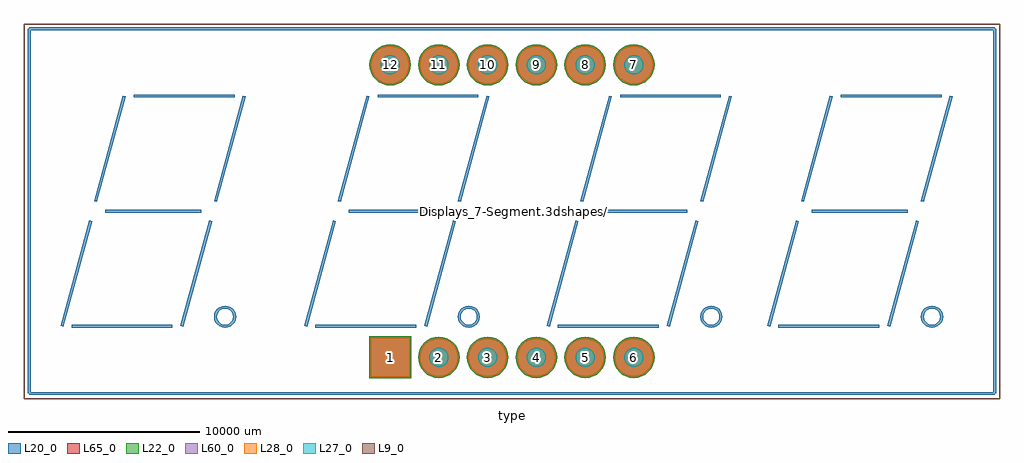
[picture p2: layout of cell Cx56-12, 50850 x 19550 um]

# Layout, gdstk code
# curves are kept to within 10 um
import gdstk
lib = gdstk.Library(unit=1e-6, precision=1e-09)
def R(c, l, rs):  # rectangles x0, y0, x1, y1
    for r in rs: c.add(gdstk.rectangle(r[:2], r[2:], *l))
def P(c, l, *ps):  # polygons
    for p in ps: c.add(gdstk.Polygon(p, *l))
L9_0 = (9, 0)
L20_0 = (20, 0)
L22_0 = (22, 0)
L27_0 = (27, 0)
L28_0 = (28, 0)
L60_0 = (60, 0)
L65_0 = (65, 0)

cx56_12 = lib.new_cell('Cx56-12')
R(cx56_12, L22_0, [(-1091,-1091,1091,1091)])
P(cx56_12, L22_0, [(6155,15240),(6134.344,15449.722),(6073.17,15651.385),(5973.83,15837.238),(5840.14,16000.14),(5677.238,16133.83),(5491.385,16233.17),(5289.722,16294.344),(5080,16315),(4870.278,16294.344),(4668.615,16233.17),(4482.762,16133.83),(4319.86,16000.14),(4186.17,15837.238),(4086.83,15651.385),(4025.656,15449.722),(4005,15240),(4025.656,15030.278),(4086.83,14828.615),(4186.17,14642.762),(4319.86,14479.86),(4482.762,14346.17),(4668.615,14246.83),(4870.278,14185.656),(5080,14165),(5289.722,14185.656),(5491.385,14246.83),(5677.238,14346.17),(5840.14,14479.86),(5973.83,14642.762),(6073.17,14828.615),(6134.344,15030.278)],
  [(13775,15240),(13754.344,15449.722),(13693.17,15651.385),(13593.83,15837.238),(13460.14,16000.14),(13297.238,16133.83),(13111.385,16233.17),(12909.722,16294.344),(12700,16315),(12490.278,16294.344),(12288.615,16233.17),(12102.762,16133.83),(11939.86,16000.14),(11806.17,15837.238),(11706.83,15651.385),(11645.656,15449.722),(11625,15240),(11645.656,15030.278),(11706.83,14828.615),(11806.17,14642.762),(11939.86,14479.86),(12102.762,14346.17),(12288.615,14246.83),(12490.278,14185.656),(12700,14165),(12909.722,14185.656),(13111.385,14246.83),(13297.238,14346.17),(13460.14,14479.86),(13593.83,14642.762),(13693.17,14828.615),(13754.344,15030.278)],
  [(3615,15240),(3594.344,15449.722),(3533.17,15651.385),(3433.83,15837.238),(3300.14,16000.14),(3137.238,16133.83),(2951.385,16233.17),(2749.722,16294.344),(2540,16315),(2330.278,16294.344),(2128.615,16233.17),(1942.762,16133.83),(1779.86,16000.14),(1646.17,15837.238),(1546.83,15651.385),(1485.656,15449.722),(1465,15240),(1485.656,15030.278),(1546.83,14828.615),(1646.17,14642.762),(1779.86,14479.86),(1942.762,14346.17),(2128.615,14246.83),(2330.278,14185.656),(2540,14165),(2749.722,14185.656),(2951.385,14246.83),(3137.238,14346.17),(3300.14,14479.86),(3433.83,14642.762),(3533.17,14828.615),(3594.344,15030.278)],
  [(1075,15240),(1054.344,15449.722),(993.17,15651.385),(893.83,15837.238),(760.14,16000.14),(597.238,16133.83),(411.385,16233.17),(209.722,16294.344),(0,16315),(-209.722,16294.344),(-411.385,16233.17),(-597.238,16133.83),(-760.14,16000.14),(-893.83,15837.238),(-993.17,15651.385),(-1054.344,15449.722),(-1075,15240),(-1054.344,15030.278),(-993.17,14828.615),(-893.83,14642.762),(-760.14,14479.86),(-597.238,14346.17),(-411.385,14246.83),(-209.722,14185.656),(0,14165),(209.722,14185.656),(411.385,14246.83),(597.238,14346.17),(760.14,14479.86),(893.83,14642.762),(993.17,14828.615),(1054.344,15030.278)],
  [(11235,15240),(11214.344,15449.722),(11153.17,15651.385),(11053.83,15837.238),(10920.14,16000.14),(10757.238,16133.83),(10571.385,16233.17),(10369.722,16294.344),(10160,16315),(9950.278,16294.344),(9748.615,16233.17),(9562.762,16133.83),(9399.86,16000.14),(9266.17,15837.238),(9166.83,15651.385),(9105.656,15449.722),(9085,15240),(9105.656,15030.278),(9166.83,14828.615),(9266.17,14642.762),(9399.86,14479.86),(9562.762,14346.17),(9748.615,14246.83),(9950.278,14185.656),(10160,14165),(10369.722,14185.656),(10571.385,14246.83),(10757.238,14346.17),(10920.14,14479.86),(11053.83,14642.762),(11153.17,14828.615),(11214.344,15030.278)],
  [(8695,15240),(8674.344,15449.722),(8613.17,15651.385),(8513.83,15837.238),(8380.14,16000.14),(8217.238,16133.83),(8031.385,16233.17),(7829.722,16294.344),(7620,16315),(7410.278,16294.344),(7208.615,16233.17),(7022.762,16133.83),(6859.86,16000.14),(6726.17,15837.238),(6626.83,15651.385),(6565.656,15449.722),(6545,15240),(6565.656,15030.278),(6626.83,14828.615),(6726.17,14642.762),(6859.86,14479.86),(7022.762,14346.17),(7208.615,14246.83),(7410.278,14185.656),(7620,14165),(7829.722,14185.656),(8031.385,14246.83),(8217.238,14346.17),(8380.14,14479.86),(8513.83,14642.762),(8613.17,14828.615),(8674.344,15030.278)],
  [(13775,0),(13754.344,209.722),(13693.17,411.385),(13593.83,597.238),(13460.14,760.14),(13297.238,893.83),(13111.385,993.17),(12909.722,1054.344),(12700,1075),(12490.278,1054.344),(12288.615,993.17),(12102.762,893.83),(11939.86,760.14),(11806.17,597.238),(11706.83,411.385),(11645.656,209.722),(11625,0),(11645.656,-209.722),(11706.83,-411.385),(11806.17,-597.238),(11939.86,-760.14),(12102.762,-893.83),(12288.615,-993.17),(12490.278,-1054.344),(12700,-1075),(12909.722,-1054.344),(13111.385,-993.17),(13297.238,-893.83),(13460.14,-760.14),(13593.83,-597.238),(13693.17,-411.385),(13754.344,-209.722)],
  [(11235,0),(11214.344,209.722),(11153.17,411.385),(11053.83,597.238),(10920.14,760.14),(10757.238,893.83),(10571.385,993.17),(10369.722,1054.344),(10160,1075),(9950.278,1054.344),(9748.615,993.17),(9562.762,893.83),(9399.86,760.14),(9266.17,597.238),(9166.83,411.385),(9105.656,209.722),(9085,0),(9105.656,-209.722),(9166.83,-411.385),(9266.17,-597.238),(9399.86,-760.14),(9562.762,-893.83),(9748.615,-993.17),(9950.278,-1054.344),(10160,-1075),(10369.722,-1054.344),(10571.385,-993.17),(10757.238,-893.83),(10920.14,-760.14),(11053.83,-597.238),(11153.17,-411.385),(11214.344,-209.722)],
  [(8695,0),(8674.344,209.722),(8613.17,411.385),(8513.83,597.238),(8380.14,760.14),(8217.238,893.83),(8031.385,993.17),(7829.722,1054.344),(7620,1075),(7410.278,1054.344),(7208.615,993.17),(7022.762,893.83),(6859.86,760.14),(6726.17,597.238),(6626.83,411.385),(6565.656,209.722),(6545,0),(6565.656,-209.722),(6626.83,-411.385),(6726.17,-597.238),(6859.86,-760.14),(7022.762,-893.83),(7208.615,-993.17),(7410.278,-1054.344),(7620,-1075),(7829.722,-1054.344),(8031.385,-993.17),(8217.238,-893.83),(8380.14,-760.14),(8513.83,-597.238),(8613.17,-411.385),(8674.344,-209.722)],
  [(6155,0),(6134.344,209.722),(6073.17,411.385),(5973.83,597.238),(5840.14,760.14),(5677.238,893.83),(5491.385,993.17),(5289.722,1054.344),(5080,1075),(4870.278,1054.344),(4668.615,993.17),(4482.762,893.83),(4319.86,760.14),(4186.17,597.238),(4086.83,411.385),(4025.656,209.722),(4005,0),(4025.656,-209.722),(4086.83,-411.385),(4186.17,-597.238),(4319.86,-760.14),(4482.762,-893.83),(4668.615,-993.17),(4870.278,-1054.344),(5080,-1075),(5289.722,-1054.344),(5491.385,-993.17),(5677.238,-893.83),(5840.14,-760.14),(5973.83,-597.238),(6073.17,-411.385),(6134.344,-209.722)],
  [(3615,0),(3594.344,209.722),(3533.17,411.385),(3433.83,597.238),(3300.14,760.14),(3137.238,893.83),(2951.385,993.17),(2749.722,1054.344),(2540,1075),(2330.278,1054.344),(2128.615,993.17),(1942.762,893.83),(1779.86,760.14),(1646.17,597.238),(1546.83,411.385),(1485.656,209.722),(1465,0),(1485.656,-209.722),(1546.83,-411.385),(1646.17,-597.238),(1779.86,-760.14),(1942.762,-893.83),(2128.615,-993.17),(2330.278,-1054.344),(2540,-1075),(2749.722,-1054.344),(2951.385,-993.17),(3137.238,-893.83),(3300.14,-760.14),(3433.83,-597.238),(3533.17,-411.385),(3594.344,-209.722)])
P(cx56_12, L27_0, [(5579.999,15240),(5541.939,15431.341),(5433.553,15593.553),(5271.341,15701.939),(5080,15739.999),(4888.659,15701.939),(4726.447,15593.553),(4618.061,15431.341),(4580.001,15240),(4618.061,15048.659),(4726.447,14886.447),(4888.659,14778.061),(5080,14740.001),(5271.341,14778.061),(5433.553,14886.447),(5541.939,15048.659)],
  [(13199.999,15240),(13161.939,15431.341),(13053.553,15593.553),(12891.341,15701.939),(12700,15739.999),(12508.659,15701.939),(12346.447,15593.553),(12238.061,15431.341),(12200.001,15240),(12238.061,15048.659),(12346.447,14886.447),(12508.659,14778.061),(12700,14740.001),(12891.341,14778.061),(13053.553,14886.447),(13161.939,15048.659)],
  [(3039.999,15240),(3001.939,15431.341),(2893.553,15593.553),(2731.341,15701.939),(2540,15739.999),(2348.659,15701.939),(2186.447,15593.553),(2078.061,15431.341),(2040.001,15240),(2078.061,15048.659),(2186.447,14886.447),(2348.659,14778.061),(2540,14740.001),(2731.341,14778.061),(2893.553,14886.447),(3001.939,15048.659)],
  [(499.999,15240),(461.939,15431.341),(353.553,15593.553),(191.341,15701.939),(0,15739.999),(-191.341,15701.939),(-353.553,15593.553),(-461.939,15431.341),(-499.999,15240),(-461.939,15048.659),(-353.553,14886.447),(-191.341,14778.061),(0,14740.001),(191.341,14778.061),(353.553,14886.447),(461.939,15048.659)],
  [(10659.999,15240),(10621.939,15431.341),(10513.553,15593.553),(10351.341,15701.939),(10160,15739.999),(9968.659,15701.939),(9806.447,15593.553),(9698.061,15431.341),(9660.001,15240),(9698.061,15048.659),(9806.447,14886.447),(9968.659,14778.061),(10160,14740.001),(10351.341,14778.061),(10513.553,14886.447),(10621.939,15048.659)],
  [(8119.999,15240),(8081.939,15431.341),(7973.553,15593.553),(7811.341,15701.939),(7620,15739.999),(7428.659,15701.939),(7266.447,15593.553),(7158.061,15431.341),(7120.001,15240),(7158.061,15048.659),(7266.447,14886.447),(7428.659,14778.061),(7620,14740.001),(7811.341,14778.061),(7973.553,14886.447),(8081.939,15048.659)],
  [(13199.999,0),(13161.939,191.341),(13053.553,353.553),(12891.341,461.939),(12700,499.999),(12508.659,461.939),(12346.447,353.553),(12238.061,191.341),(12200.001,0),(12238.061,-191.341),(12346.447,-353.553),(12508.659,-461.939),(12700,-499.999),(12891.341,-461.939),(13053.553,-353.553),(13161.939,-191.341)],
  [(10659.999,0),(10621.939,191.341),(10513.553,353.553),(10351.341,461.939),(10160,499.999),(9968.659,461.939),(9806.447,353.553),(9698.061,191.341),(9660.001,0),(9698.061,-191.341),(9806.447,-353.553),(9968.659,-461.939),(10160,-499.999),(10351.341,-461.939),(10513.553,-353.553),(10621.939,-191.341)],
  [(8119.999,0),(8081.939,191.341),(7973.553,353.553),(7811.341,461.939),(7620,499.999),(7428.659,461.939),(7266.447,353.553),(7158.061,191.341),(7120.001,0),(7158.061,-191.341),(7266.447,-353.553),(7428.659,-461.939),(7620,-499.999),(7811.341,-461.939),(7973.553,-353.553),(8081.939,-191.341)],
  [(5579.999,0),(5541.939,191.341),(5433.553,353.553),(5271.341,461.939),(5080,499.999),(4888.659,461.939),(4726.447,353.553),(4618.061,191.341),(4580.001,0),(4618.061,-191.341),(4726.447,-353.553),(4888.659,-461.939),(5080,-499.999),(5271.341,-461.939),(5433.553,-353.553),(5541.939,-191.341)],
  [(3039.999,0),(3001.939,191.341),(2893.553,353.553),(2731.341,461.939),(2540,499.999),(2348.659,461.939),(2186.447,353.553),(2078.061,191.341),(2040.001,0),(2078.061,-191.341),(2186.447,-353.553),(2348.659,-461.939),(2540,-499.999),(2731.341,-461.939),(2893.553,-353.553),(3001.939,-191.341)])
R(cx56_12, L28_0, [(-1016,-1016,1016,1016)])
P(cx56_12, L28_0, [(6080,15240),(6060.785,15435.09),(6003.88,15622.683),(5911.47,15795.57),(5787.107,15947.107),(5635.57,16071.47),(5462.683,16163.88),(5275.09,16220.785),(5080,16240),(4884.91,16220.785),(4697.317,16163.88),(4524.43,16071.47),(4372.893,15947.107),(4248.53,15795.57),(4156.12,15622.683),(4099.215,15435.09),(4080,15240),(4099.215,15044.91),(4156.12,14857.317),(4248.53,14684.43),(4372.893,14532.893),(4524.43,14408.53),(4697.317,14316.12),(4884.91,14259.215),(5080,14240),(5275.09,14259.215),(5462.683,14316.12),(5635.57,14408.53),(5787.107,14532.893),(5911.47,14684.43),(6003.88,14857.317),(6060.785,15044.91)],
  [(13700,15240),(13680.785,15435.09),(13623.88,15622.683),(13531.47,15795.57),(13407.107,15947.107),(13255.57,16071.47),(13082.683,16163.88),(12895.09,16220.785),(12700,16240),(12504.91,16220.785),(12317.317,16163.88),(12144.43,16071.47),(11992.893,15947.107),(11868.53,15795.57),(11776.12,15622.683),(11719.215,15435.09),(11700,15240),(11719.215,15044.91),(11776.12,14857.317),(11868.53,14684.43),(11992.893,14532.893),(12144.43,14408.53),(12317.317,14316.12),(12504.91,14259.215),(12700,14240),(12895.09,14259.215),(13082.683,14316.12),(13255.57,14408.53),(13407.107,14532.893),(13531.47,14684.43),(13623.88,14857.317),(13680.785,15044.91)],
  [(3540,15240),(3520.785,15435.09),(3463.88,15622.683),(3371.47,15795.57),(3247.107,15947.107),(3095.57,16071.47),(2922.683,16163.88),(2735.09,16220.785),(2540,16240),(2344.91,16220.785),(2157.317,16163.88),(1984.43,16071.47),(1832.893,15947.107),(1708.53,15795.57),(1616.12,15622.683),(1559.215,15435.09),(1540,15240),(1559.215,15044.91),(1616.12,14857.317),(1708.53,14684.43),(1832.893,14532.893),(1984.43,14408.53),(2157.317,14316.12),(2344.91,14259.215),(2540,14240),(2735.09,14259.215),(2922.683,14316.12),(3095.57,14408.53),(3247.107,14532.893),(3371.47,14684.43),(3463.88,14857.317),(3520.785,15044.91)],
  [(1000,15240),(980.785,15435.09),(923.88,15622.683),(831.47,15795.57),(707.107,15947.107),(555.57,16071.47),(382.683,16163.88),(195.09,16220.785),(0,16240),(-195.09,16220.785),(-382.683,16163.88),(-555.57,16071.47),(-707.107,15947.107),(-831.47,15795.57),(-923.88,15622.683),(-980.785,15435.09),(-1000,15240),(-980.785,15044.91),(-923.88,14857.317),(-831.47,14684.43),(-707.107,14532.893),(-555.57,14408.53),(-382.683,14316.12),(-195.09,14259.215),(0,14240),(195.09,14259.215),(382.683,14316.12),(555.57,14408.53),(707.107,14532.893),(831.47,14684.43),(923.88,14857.317),(980.785,15044.91)],
  [(11160,15240),(11140.785,15435.09),(11083.88,15622.683),(10991.47,15795.57),(10867.107,15947.107),(10715.57,16071.47),(10542.683,16163.88),(10355.09,16220.785),(10160,16240),(9964.91,16220.785),(9777.317,16163.88),(9604.43,16071.47),(9452.893,15947.107),(9328.53,15795.57),(9236.12,15622.683),(9179.215,15435.09),(9160,15240),(9179.215,15044.91),(9236.12,14857.317),(9328.53,14684.43),(9452.893,14532.893),(9604.43,14408.53),(9777.317,14316.12),(9964.91,14259.215),(10160,14240),(10355.09,14259.215),(10542.683,14316.12),(10715.57,14408.53),(10867.107,14532.893),(10991.47,14684.43),(11083.88,14857.317),(11140.785,15044.91)],
  [(8620,15240),(8600.785,15435.09),(8543.88,15622.683),(8451.47,15795.57),(8327.107,15947.107),(8175.57,16071.47),(8002.683,16163.88),(7815.09,16220.785),(7620,16240),(7424.91,16220.785),(7237.317,16163.88),(7064.43,16071.47),(6912.893,15947.107),(6788.53,15795.57),(6696.12,15622.683),(6639.215,15435.09),(6620,15240),(6639.215,15044.91),(6696.12,14857.317),(6788.53,14684.43),(6912.893,14532.893),(7064.43,14408.53),(7237.317,14316.12),(7424.91,14259.215),(7620,14240),(7815.09,14259.215),(8002.683,14316.12),(8175.57,14408.53),(8327.107,14532.893),(8451.47,14684.43),(8543.88,14857.317),(8600.785,15044.91)],
  [(13700,0),(13680.785,195.09),(13623.88,382.683),(13531.47,555.57),(13407.107,707.107),(13255.57,831.47),(13082.683,923.88),(12895.09,980.785),(12700,1000),(12504.91,980.785),(12317.317,923.88),(12144.43,831.47),(11992.893,707.107),(11868.53,555.57),(11776.12,382.683),(11719.215,195.09),(11700,0),(11719.215,-195.09),(11776.12,-382.683),(11868.53,-555.57),(11992.893,-707.107),(12144.43,-831.47),(12317.317,-923.88),(12504.91,-980.785),(12700,-1000),(12895.09,-980.785),(13082.683,-923.88),(13255.57,-831.47),(13407.107,-707.107),(13531.47,-555.57),(13623.88,-382.683),(13680.785,-195.09)],
  [(11160,0),(11140.785,195.09),(11083.88,382.683),(10991.47,555.57),(10867.107,707.107),(10715.57,831.47),(10542.683,923.88),(10355.09,980.785),(10160,1000),(9964.91,980.785),(9777.317,923.88),(9604.43,831.47),(9452.893,707.107),(9328.53,555.57),(9236.12,382.683),(9179.215,195.09),(9160,0),(9179.215,-195.09),(9236.12,-382.683),(9328.53,-555.57),(9452.893,-707.107),(9604.43,-831.47),(9777.317,-923.88),(9964.91,-980.785),(10160,-1000),(10355.09,-980.785),(10542.683,-923.88),(10715.57,-831.47),(10867.107,-707.107),(10991.47,-555.57),(11083.88,-382.683),(11140.785,-195.09)],
  [(8620,0),(8600.785,195.09),(8543.88,382.683),(8451.47,555.57),(8327.107,707.107),(8175.57,831.47),(8002.683,923.88),(7815.09,980.785),(7620,1000),(7424.91,980.785),(7237.317,923.88),(7064.43,831.47),(6912.893,707.107),(6788.53,555.57),(6696.12,382.683),(6639.215,195.09),(6620,0),(6639.215,-195.09),(6696.12,-382.683),(6788.53,-555.57),(6912.893,-707.107),(7064.43,-831.47),(7237.317,-923.88),(7424.91,-980.785),(7620,-1000),(7815.09,-980.785),(8002.683,-923.88),(8175.57,-831.47),(8327.107,-707.107),(8451.47,-555.57),(8543.88,-382.683),(8600.785,-195.09)],
  [(6080,0),(6060.785,195.09),(6003.88,382.683),(5911.47,555.57),(5787.107,707.107),(5635.57,831.47),(5462.683,923.88),(5275.09,980.785),(5080,1000),(4884.91,980.785),(4697.317,923.88),(4524.43,831.47),(4372.893,707.107),(4248.53,555.57),(4156.12,382.683),(4099.215,195.09),(4080,0),(4099.215,-195.09),(4156.12,-382.683),(4248.53,-555.57),(4372.893,-707.107),(4524.43,-831.47),(4697.317,-923.88),(4884.91,-980.785),(5080,-1000),(5275.09,-980.785),(5462.683,-923.88),(5635.57,-831.47),(5787.107,-707.107),(5911.47,-555.57),(6003.88,-382.683),(6060.785,-195.09)],
  [(3540,0),(3520.785,195.09),(3463.88,382.683),(3371.47,555.57),(3247.107,707.107),(3095.57,831.47),(2922.683,923.88),(2735.09,980.785),(2540,1000),(2344.91,980.785),(2157.317,923.88),(1984.43,831.47),(1832.893,707.107),(1708.53,555.57),(1616.12,382.683),(1559.215,195.09),(1540,0),(1559.215,-195.09),(1616.12,-382.683),(1708.53,-555.57),(1832.893,-707.107),(1984.43,-831.47),(2157.317,-923.88),(2344.91,-980.785),(2540,-1000),(2735.09,-980.785),(2922.683,-923.88),(3095.57,-831.47),(3247.107,-707.107),(3371.47,-555.57),(3463.88,-382.683),(3520.785,-195.09)])
R(cx56_12, L60_0, [(-1016,-1016,1016,1016)])
P(cx56_12, L60_0, [(6080,15240),(6060.785,15435.09),(6003.88,15622.683),(5911.47,15795.57),(5787.107,15947.107),(5635.57,16071.47),(5462.683,16163.88),(5275.09,16220.785),(5080,16240),(4884.91,16220.785),(4697.317,16163.88),(4524.43,16071.47),(4372.893,15947.107),(4248.53,15795.57),(4156.12,15622.683),(4099.215,15435.09),(4080,15240),(4099.215,15044.91),(4156.12,14857.317),(4248.53,14684.43),(4372.893,14532.893),(4524.43,14408.53),(4697.317,14316.12),(4884.91,14259.215),(5080,14240),(5275.09,14259.215),(5462.683,14316.12),(5635.57,14408.53),(5787.107,14532.893),(5911.47,14684.43),(6003.88,14857.317),(6060.785,15044.91)],
  [(13700,15240),(13680.785,15435.09),(13623.88,15622.683),(13531.47,15795.57),(13407.107,15947.107),(13255.57,16071.47),(13082.683,16163.88),(12895.09,16220.785),(12700,16240),(12504.91,16220.785),(12317.317,16163.88),(12144.43,16071.47),(11992.893,15947.107),(11868.53,15795.57),(11776.12,15622.683),(11719.215,15435.09),(11700,15240),(11719.215,15044.91),(11776.12,14857.317),(11868.53,14684.43),(11992.893,14532.893),(12144.43,14408.53),(12317.317,14316.12),(12504.91,14259.215),(12700,14240),(12895.09,14259.215),(13082.683,14316.12),(13255.57,14408.53),(13407.107,14532.893),(13531.47,14684.43),(13623.88,14857.317),(13680.785,15044.91)],
  [(3540,15240),(3520.785,15435.09),(3463.88,15622.683),(3371.47,15795.57),(3247.107,15947.107),(3095.57,16071.47),(2922.683,16163.88),(2735.09,16220.785),(2540,16240),(2344.91,16220.785),(2157.317,16163.88),(1984.43,16071.47),(1832.893,15947.107),(1708.53,15795.57),(1616.12,15622.683),(1559.215,15435.09),(1540,15240),(1559.215,15044.91),(1616.12,14857.317),(1708.53,14684.43),(1832.893,14532.893),(1984.43,14408.53),(2157.317,14316.12),(2344.91,14259.215),(2540,14240),(2735.09,14259.215),(2922.683,14316.12),(3095.57,14408.53),(3247.107,14532.893),(3371.47,14684.43),(3463.88,14857.317),(3520.785,15044.91)],
  [(1000,15240),(980.785,15435.09),(923.88,15622.683),(831.47,15795.57),(707.107,15947.107),(555.57,16071.47),(382.683,16163.88),(195.09,16220.785),(0,16240),(-195.09,16220.785),(-382.683,16163.88),(-555.57,16071.47),(-707.107,15947.107),(-831.47,15795.57),(-923.88,15622.683),(-980.785,15435.09),(-1000,15240),(-980.785,15044.91),(-923.88,14857.317),(-831.47,14684.43),(-707.107,14532.893),(-555.57,14408.53),(-382.683,14316.12),(-195.09,14259.215),(0,14240),(195.09,14259.215),(382.683,14316.12),(555.57,14408.53),(707.107,14532.893),(831.47,14684.43),(923.88,14857.317),(980.785,15044.91)],
  [(11160,15240),(11140.785,15435.09),(11083.88,15622.683),(10991.47,15795.57),(10867.107,15947.107),(10715.57,16071.47),(10542.683,16163.88),(10355.09,16220.785),(10160,16240),(9964.91,16220.785),(9777.317,16163.88),(9604.43,16071.47),(9452.893,15947.107),(9328.53,15795.57),(9236.12,15622.683),(9179.215,15435.09),(9160,15240),(9179.215,15044.91),(9236.12,14857.317),(9328.53,14684.43),(9452.893,14532.893),(9604.43,14408.53),(9777.317,14316.12),(9964.91,14259.215),(10160,14240),(10355.09,14259.215),(10542.683,14316.12),(10715.57,14408.53),(10867.107,14532.893),(10991.47,14684.43),(11083.88,14857.317),(11140.785,15044.91)],
  [(8620,15240),(8600.785,15435.09),(8543.88,15622.683),(8451.47,15795.57),(8327.107,15947.107),(8175.57,16071.47),(8002.683,16163.88),(7815.09,16220.785),(7620,16240),(7424.91,16220.785),(7237.317,16163.88),(7064.43,16071.47),(6912.893,15947.107),(6788.53,15795.57),(6696.12,15622.683),(6639.215,15435.09),(6620,15240),(6639.215,15044.91),(6696.12,14857.317),(6788.53,14684.43),(6912.893,14532.893),(7064.43,14408.53),(7237.317,14316.12),(7424.91,14259.215),(7620,14240),(7815.09,14259.215),(8002.683,14316.12),(8175.57,14408.53),(8327.107,14532.893),(8451.47,14684.43),(8543.88,14857.317),(8600.785,15044.91)],
  [(13700,0),(13680.785,195.09),(13623.88,382.683),(13531.47,555.57),(13407.107,707.107),(13255.57,831.47),(13082.683,923.88),(12895.09,980.785),(12700,1000),(12504.91,980.785),(12317.317,923.88),(12144.43,831.47),(11992.893,707.107),(11868.53,555.57),(11776.12,382.683),(11719.215,195.09),(11700,0),(11719.215,-195.09),(11776.12,-382.683),(11868.53,-555.57),(11992.893,-707.107),(12144.43,-831.47),(12317.317,-923.88),(12504.91,-980.785),(12700,-1000),(12895.09,-980.785),(13082.683,-923.88),(13255.57,-831.47),(13407.107,-707.107),(13531.47,-555.57),(13623.88,-382.683),(13680.785,-195.09)],
  [(11160,0),(11140.785,195.09),(11083.88,382.683),(10991.47,555.57),(10867.107,707.107),(10715.57,831.47),(10542.683,923.88),(10355.09,980.785),(10160,1000),(9964.91,980.785),(9777.317,923.88),(9604.43,831.47),(9452.893,707.107),(9328.53,555.57),(9236.12,382.683),(9179.215,195.09),(9160,0),(9179.215,-195.09),(9236.12,-382.683),(9328.53,-555.57),(9452.893,-707.107),(9604.43,-831.47),(9777.317,-923.88),(9964.91,-980.785),(10160,-1000),(10355.09,-980.785),(10542.683,-923.88),(10715.57,-831.47),(10867.107,-707.107),(10991.47,-555.57),(11083.88,-382.683),(11140.785,-195.09)],
  [(8620,0),(8600.785,195.09),(8543.88,382.683),(8451.47,555.57),(8327.107,707.107),(8175.57,831.47),(8002.683,923.88),(7815.09,980.785),(7620,1000),(7424.91,980.785),(7237.317,923.88),(7064.43,831.47),(6912.893,707.107),(6788.53,555.57),(6696.12,382.683),(6639.215,195.09),(6620,0),(6639.215,-195.09),(6696.12,-382.683),(6788.53,-555.57),(6912.893,-707.107),(7064.43,-831.47),(7237.317,-923.88),(7424.91,-980.785),(7620,-1000),(7815.09,-980.785),(8002.683,-923.88),(8175.57,-831.47),(8327.107,-707.107),(8451.47,-555.57),(8543.88,-382.683),(8600.785,-195.09)],
  [(6080,0),(6060.785,195.09),(6003.88,382.683),(5911.47,555.57),(5787.107,707.107),(5635.57,831.47),(5462.683,923.88),(5275.09,980.785),(5080,1000),(4884.91,980.785),(4697.317,923.88),(4524.43,831.47),(4372.893,707.107),(4248.53,555.57),(4156.12,382.683),(4099.215,195.09),(4080,0),(4099.215,-195.09),(4156.12,-382.683),(4248.53,-555.57),(4372.893,-707.107),(4524.43,-831.47),(4697.317,-923.88),(4884.91,-980.785),(5080,-1000),(5275.09,-980.785),(5462.683,-923.88),(5635.57,-831.47),(5787.107,-707.107),(5911.47,-555.57),(6003.88,-382.683),(6060.785,-195.09)],
  [(3540,0),(3520.785,195.09),(3463.88,382.683),(3371.47,555.57),(3247.107,707.107),(3095.57,831.47),(2922.683,923.88),(2735.09,980.785),(2540,1000),(2344.91,980.785),(2157.317,923.88),(1984.43,831.47),(1832.893,707.107),(1708.53,555.57),(1616.12,382.683),(1559.215,195.09),(1540,0),(1559.215,-195.09),(1616.12,-382.683),(1708.53,-555.57),(1832.893,-707.107),(1984.43,-831.47),(2157.317,-923.88),(2344.91,-980.785),(2540,-1000),(2735.09,-980.785),(2922.683,-923.88),(3095.57,-831.47),(3247.107,-707.107),(3371.47,-555.57),(3463.88,-382.683),(3520.785,-195.09)])
R(cx56_12, L65_0, [(-1091,-1091,1091,1091)])
P(cx56_12, L65_0, [(6155,15240),(6134.344,15449.722),(6073.17,15651.385),(5973.83,15837.238),(5840.14,16000.14),(5677.238,16133.83),(5491.385,16233.17),(5289.722,16294.344),(5080,16315),(4870.278,16294.344),(4668.615,16233.17),(4482.762,16133.83),(4319.86,16000.14),(4186.17,15837.238),(4086.83,15651.385),(4025.656,15449.722),(4005,15240),(4025.656,15030.278),(4086.83,14828.615),(4186.17,14642.762),(4319.86,14479.86),(4482.762,14346.17),(4668.615,14246.83),(4870.278,14185.656),(5080,14165),(5289.722,14185.656),(5491.385,14246.83),(5677.238,14346.17),(5840.14,14479.86),(5973.83,14642.762),(6073.17,14828.615),(6134.344,15030.278)],
  [(13775,15240),(13754.344,15449.722),(13693.17,15651.385),(13593.83,15837.238),(13460.14,16000.14),(13297.238,16133.83),(13111.385,16233.17),(12909.722,16294.344),(12700,16315),(12490.278,16294.344),(12288.615,16233.17),(12102.762,16133.83),(11939.86,16000.14),(11806.17,15837.238),(11706.83,15651.385),(11645.656,15449.722),(11625,15240),(11645.656,15030.278),(11706.83,14828.615),(11806.17,14642.762),(11939.86,14479.86),(12102.762,14346.17),(12288.615,14246.83),(12490.278,14185.656),(12700,14165),(12909.722,14185.656),(13111.385,14246.83),(13297.238,14346.17),(13460.14,14479.86),(13593.83,14642.762),(13693.17,14828.615),(13754.344,15030.278)],
  [(3615,15240),(3594.344,15449.722),(3533.17,15651.385),(3433.83,15837.238),(3300.14,16000.14),(3137.238,16133.83),(2951.385,16233.17),(2749.722,16294.344),(2540,16315),(2330.278,16294.344),(2128.615,16233.17),(1942.762,16133.83),(1779.86,16000.14),(1646.17,15837.238),(1546.83,15651.385),(1485.656,15449.722),(1465,15240),(1485.656,15030.278),(1546.83,14828.615),(1646.17,14642.762),(1779.86,14479.86),(1942.762,14346.17),(2128.615,14246.83),(2330.278,14185.656),(2540,14165),(2749.722,14185.656),(2951.385,14246.83),(3137.238,14346.17),(3300.14,14479.86),(3433.83,14642.762),(3533.17,14828.615),(3594.344,15030.278)],
  [(1075,15240),(1054.344,15449.722),(993.17,15651.385),(893.83,15837.238),(760.14,16000.14),(597.238,16133.83),(411.385,16233.17),(209.722,16294.344),(0,16315),(-209.722,16294.344),(-411.385,16233.17),(-597.238,16133.83),(-760.14,16000.14),(-893.83,15837.238),(-993.17,15651.385),(-1054.344,15449.722),(-1075,15240),(-1054.344,15030.278),(-993.17,14828.615),(-893.83,14642.762),(-760.14,14479.86),(-597.238,14346.17),(-411.385,14246.83),(-209.722,14185.656),(0,14165),(209.722,14185.656),(411.385,14246.83),(597.238,14346.17),(760.14,14479.86),(893.83,14642.762),(993.17,14828.615),(1054.344,15030.278)],
  [(11235,15240),(11214.344,15449.722),(11153.17,15651.385),(11053.83,15837.238),(10920.14,16000.14),(10757.238,16133.83),(10571.385,16233.17),(10369.722,16294.344),(10160,16315),(9950.278,16294.344),(9748.615,16233.17),(9562.762,16133.83),(9399.86,16000.14),(9266.17,15837.238),(9166.83,15651.385),(9105.656,15449.722),(9085,15240),(9105.656,15030.278),(9166.83,14828.615),(9266.17,14642.762),(9399.86,14479.86),(9562.762,14346.17),(9748.615,14246.83),(9950.278,14185.656),(10160,14165),(10369.722,14185.656),(10571.385,14246.83),(10757.238,14346.17),(10920.14,14479.86),(11053.83,14642.762),(11153.17,14828.615),(11214.344,15030.278)],
  [(8695,15240),(8674.344,15449.722),(8613.17,15651.385),(8513.83,15837.238),(8380.14,16000.14),(8217.238,16133.83),(8031.385,16233.17),(7829.722,16294.344),(7620,16315),(7410.278,16294.344),(7208.615,16233.17),(7022.762,16133.83),(6859.86,16000.14),(6726.17,15837.238),(6626.83,15651.385),(6565.656,15449.722),(6545,15240),(6565.656,15030.278),(6626.83,14828.615),(6726.17,14642.762),(6859.86,14479.86),(7022.762,14346.17),(7208.615,14246.83),(7410.278,14185.656),(7620,14165),(7829.722,14185.656),(8031.385,14246.83),(8217.238,14346.17),(8380.14,14479.86),(8513.83,14642.762),(8613.17,14828.615),(8674.344,15030.278)],
  [(13775,0),(13754.344,209.722),(13693.17,411.385),(13593.83,597.238),(13460.14,760.14),(13297.238,893.83),(13111.385,993.17),(12909.722,1054.344),(12700,1075),(12490.278,1054.344),(12288.615,993.17),(12102.762,893.83),(11939.86,760.14),(11806.17,597.238),(11706.83,411.385),(11645.656,209.722),(11625,0),(11645.656,-209.722),(11706.83,-411.385),(11806.17,-597.238),(11939.86,-760.14),(12102.762,-893.83),(12288.615,-993.17),(12490.278,-1054.344),(12700,-1075),(12909.722,-1054.344),(13111.385,-993.17),(13297.238,-893.83),(13460.14,-760.14),(13593.83,-597.238),(13693.17,-411.385),(13754.344,-209.722)],
  [(11235,0),(11214.344,209.722),(11153.17,411.385),(11053.83,597.238),(10920.14,760.14),(10757.238,893.83),(10571.385,993.17),(10369.722,1054.344),(10160,1075),(9950.278,1054.344),(9748.615,993.17),(9562.762,893.83),(9399.86,760.14),(9266.17,597.238),(9166.83,411.385),(9105.656,209.722),(9085,0),(9105.656,-209.722),(9166.83,-411.385),(9266.17,-597.238),(9399.86,-760.14),(9562.762,-893.83),(9748.615,-993.17),(9950.278,-1054.344),(10160,-1075),(10369.722,-1054.344),(10571.385,-993.17),(10757.238,-893.83),(10920.14,-760.14),(11053.83,-597.238),(11153.17,-411.385),(11214.344,-209.722)],
  [(8695,0),(8674.344,209.722),(8613.17,411.385),(8513.83,597.238),(8380.14,760.14),(8217.238,893.83),(8031.385,993.17),(7829.722,1054.344),(7620,1075),(7410.278,1054.344),(7208.615,993.17),(7022.762,893.83),(6859.86,760.14),(6726.17,597.238),(6626.83,411.385),(6565.656,209.722),(6545,0),(6565.656,-209.722),(6626.83,-411.385),(6726.17,-597.238),(6859.86,-760.14),(7022.762,-893.83),(7208.615,-993.17),(7410.278,-1054.344),(7620,-1075),(7829.722,-1054.344),(8031.385,-993.17),(8217.238,-893.83),(8380.14,-760.14),(8513.83,-597.238),(8613.17,-411.385),(8674.344,-209.722)],
  [(6155,0),(6134.344,209.722),(6073.17,411.385),(5973.83,597.238),(5840.14,760.14),(5677.238,893.83),(5491.385,993.17),(5289.722,1054.344),(5080,1075),(4870.278,1054.344),(4668.615,993.17),(4482.762,893.83),(4319.86,760.14),(4186.17,597.238),(4086.83,411.385),(4025.656,209.722),(4005,0),(4025.656,-209.722),(4086.83,-411.385),(4186.17,-597.238),(4319.86,-760.14),(4482.762,-893.83),(4668.615,-993.17),(4870.278,-1054.344),(5080,-1075),(5289.722,-1054.344),(5491.385,-993.17),(5677.238,-893.83),(5840.14,-760.14),(5973.83,-597.238),(6073.17,-411.385),(6134.344,-209.722)],
  [(3615,0),(3594.344,209.722),(3533.17,411.385),(3433.83,597.238),(3300.14,760.14),(3137.238,893.83),(2951.385,993.17),(2749.722,1054.344),(2540,1075),(2330.278,1054.344),(2128.615,993.17),(1942.762,893.83),(1779.86,760.14),(1646.17,597.238),(1546.83,411.385),(1485.656,209.722),(1465,0),(1485.656,-209.722),(1546.83,-411.385),(1646.17,-597.238),(1779.86,-760.14),(1942.762,-893.83),(2128.615,-993.17),(2330.278,-1054.344),(2540,-1075),(2749.722,-1054.344),(2951.385,-993.17),(3137.238,-893.83),(3300.14,-760.14),(3433.83,-597.238),(3533.17,-411.385),(3594.344,-209.722)])
cx56_12.add(gdstk.FlexPath([(4100,1620),(4229.41,1637.037),(4350,1686.987),(4453.553,1766.447),(4533.013,1870),(4582.963,1990.59),(4600,2120),(4582.963,2249.41),(4533.013,2370),(4453.553,2473.553),(4350,2553.013),(4229.41,2602.963),(4100,2620),(3970.59,2602.963),(3850,2553.013),(3746.447,2473.553),(3666.987,2370),(3617.037,2249.41),(3600,2120),(3617.037,1990.59),(3666.987,1870),(3746.447,1766.447),(3850,1686.987),(3970.59,1637.037),(4100,1620)], 149.998, ends="flush", simple_path=True, layer=20, datatype=0))  # L20_0
cx56_12.add(gdstk.FlexPath([(16735,1620),(16864.41,1637.037),(16985,1686.987),(17088.553,1766.447),(17168.013,1870),(17217.963,1990.59),(17235,2120),(17217.963,2249.41),(17168.013,2370),(17088.553,2473.553),(16985,2553.013),(16864.41,2602.963),(16735,2620),(16605.59,2602.963),(16485,2553.013),(16381.447,2473.553),(16301.987,2370),(16252.037,2249.41),(16235,2120),(16252.037,1990.59),(16301.987,1870),(16381.447,1766.447),(16485,1686.987),(16605.59,1637.037),(16735,1620)], 149.998, ends="flush", simple_path=True, layer=20, datatype=0))  # L20_0
cx56_12.add(gdstk.FlexPath([(-8600,1620),(-8470.59,1637.037),(-8350,1686.987),(-8246.447,1766.447),(-8166.987,1870),(-8117.037,1990.59),(-8100,2120),(-8117.037,2249.41),(-8166.987,2370),(-8246.447,2473.553),(-8350,2553.013),(-8470.59,2602.963),(-8600,2620),(-8729.41,2602.963),(-8850,2553.013),(-8953.553,2473.553),(-9033.013,2370),(-9082.963,2249.41),(-9100,2120),(-9082.963,1990.59),(-9033.013,1870),(-8953.553,1766.447),(-8850,1686.987),(-8729.41,1637.037),(-8600,1620)], 149.998, ends="flush", simple_path=True, layer=20, datatype=0))  # L20_0
cx56_12.add(gdstk.FlexPath([(28230,1620),(28359.41,1637.037),(28480,1686.987),(28583.553,1766.447),(28663.013,1870),(28712.963,1990.59),(28730,2120),(28712.963,2249.41),(28663.013,2370),(28583.553,2473.553),(28480,2553.013),(28359.41,2602.963),(28230,2620),(28100.59,2602.963),(27980,2553.013),(27876.447,2473.553),(27796.987,2370),(27747.037,2249.41),(27730,2120),(27747.037,1990.59),(27796.987,1870),(27876.447,1766.447),(27980,1686.987),(28100.59,1637.037),(28230,1620)], 149.998, ends="flush", simple_path=True, layer=20, datatype=0))  # L20_0
cx56_12.add(gdstk.FlexPath([(14485,1620),(15985,7120)], 149.998, ends="flush", simple_path=True, layer=20, datatype=0))  # L20_0
cx56_12.add(gdstk.FlexPath([(8235,1620),(9735,7120)], 149.998, ends="flush", simple_path=True, layer=20, datatype=0))  # L20_0
cx56_12.add(gdstk.FlexPath([(8735,1620),(13985,1620)], 149.998, ends="flush", simple_path=True, layer=20, datatype=0))  # L20_0
cx56_12.add(gdstk.FlexPath([(10485,7620),(15485,7620)], 149.998, ends="flush", simple_path=True, layer=20, datatype=0))  # L20_0
cx56_12.add(gdstk.FlexPath([(9985,8120),(11485,13620)], 149.998, ends="flush", simple_path=True, layer=20, datatype=0))  # L20_0
cx56_12.add(gdstk.FlexPath([(11985,13620),(17235,13620)], 149.998, ends="flush", simple_path=True, layer=20, datatype=0))  # L20_0
cx56_12.add(gdstk.FlexPath([(16235,8120),(17735,13620)], 149.998, ends="flush", simple_path=True, layer=20, datatype=0))  # L20_0
cx56_12.add(gdstk.FlexPath([(-2150,7620),(2850,7620)], 149.998, ends="flush", simple_path=True, layer=20, datatype=0))  # L20_0
cx56_12.add(gdstk.FlexPath([(-3900,1620),(1350,1620)], 149.998, ends="flush", simple_path=True, layer=20, datatype=0))  # L20_0
cx56_12.add(gdstk.FlexPath([(3600,8120),(5100,13620)], 149.998, ends="flush", simple_path=True, layer=20, datatype=0))  # L20_0
cx56_12.add(gdstk.FlexPath([(1850,1620),(3350,7120)], 149.998, ends="flush", simple_path=True, layer=20, datatype=0))  # L20_0
cx56_12.add(gdstk.FlexPath([(-2650,8120),(-1150,13620)], 149.998, ends="flush", simple_path=True, layer=20, datatype=0))  # L20_0
cx56_12.add(gdstk.FlexPath([(-4400,1620),(-2900,7120)], 149.998, ends="flush", simple_path=True, layer=20, datatype=0))  # L20_0
cx56_12.add(gdstk.FlexPath([(-650,13620),(4600,13620)], 149.998, ends="flush", simple_path=True, layer=20, datatype=0))  # L20_0
cx56_12.add(gdstk.FlexPath([(-13350,13620),(-8100,13620)], 149.998, ends="flush", simple_path=True, layer=20, datatype=0))  # L20_0
cx56_12.add(gdstk.FlexPath([(-17100,1620),(-15600,7120)], 149.998, ends="flush", simple_path=True, layer=20, datatype=0))  # L20_0
cx56_12.add(gdstk.FlexPath([(-15350,8120),(-13850,13620)], 149.998, ends="flush", simple_path=True, layer=20, datatype=0))  # L20_0
cx56_12.add(gdstk.FlexPath([(-10850,1620),(-9350,7120)], 149.998, ends="flush", simple_path=True, layer=20, datatype=0))  # L20_0
cx56_12.add(gdstk.FlexPath([(-9100,8120),(-7600,13620)], 149.998, ends="flush", simple_path=True, layer=20, datatype=0))  # L20_0
cx56_12.add(gdstk.FlexPath([(-16600,1620),(-11350,1620)], 149.998, ends="flush", simple_path=True, layer=20, datatype=0))  # L20_0
cx56_12.add(gdstk.FlexPath([(-14850,7620),(-9850,7620)], 149.998, ends="flush", simple_path=True, layer=20, datatype=0))  # L20_0
cx56_12.add(gdstk.FlexPath([(23480,13620),(28730,13620)], 149.998, ends="flush", simple_path=True, layer=20, datatype=0))  # L20_0
cx56_12.add(gdstk.FlexPath([(19730,1620),(21230,7120)], 149.998, ends="flush", simple_path=True, layer=20, datatype=0))  # L20_0
cx56_12.add(gdstk.FlexPath([(21480,8120),(22980,13620)], 149.998, ends="flush", simple_path=True, layer=20, datatype=0))  # L20_0
cx56_12.add(gdstk.FlexPath([(25980,1620),(27480,7120)], 149.998, ends="flush", simple_path=True, layer=20, datatype=0))  # L20_0
cx56_12.add(gdstk.FlexPath([(27730,8120),(29230,13620)], 149.998, ends="flush", simple_path=True, layer=20, datatype=0))  # L20_0
cx56_12.add(gdstk.FlexPath([(20230,1620),(25480,1620)], 149.998, ends="flush", simple_path=True, layer=20, datatype=0))  # L20_0
cx56_12.add(gdstk.FlexPath([(21980,7620),(26980,7620)], 149.998, ends="flush", simple_path=True, layer=20, datatype=0))  # L20_0
cx56_12.add(gdstk.FlexPath([(31500,17120),(31500,-1880)], 149.998, ends="flush", simple_path=True, layer=20, datatype=0))  # L20_0
cx56_12.add(gdstk.FlexPath([(-18800,17120),(31500,17120)], 149.998, ends="flush", simple_path=True, layer=20, datatype=0))  # L20_0
cx56_12.add(gdstk.FlexPath([(-18800,-1880),(-18800,17120)], 149.998, ends="flush", simple_path=True, layer=20, datatype=0))  # L20_0
cx56_12.add(gdstk.FlexPath([(31500,-1880),(-18800,-1880)], 149.998, ends="flush", simple_path=True, layer=20, datatype=0))  # L20_0
cx56_12.add(gdstk.FlexPath([(-19050,-2150),(-19050,17350)], 50, ends="flush", simple_path=True, layer=9, datatype=0))  # L9_0
cx56_12.add(gdstk.FlexPath([(-19050,17350),(31750,17350)], 50, ends="flush", simple_path=True, layer=9, datatype=0))  # L9_0
cx56_12.add(gdstk.FlexPath([(31750,17350),(31750,-2150)], 50, ends="flush", simple_path=True, layer=9, datatype=0))  # L9_0
cx56_12.add(gdstk.FlexPath([(31750,-2150),(-19050,-2150)], 50, ends="flush", simple_path=True, layer=9, datatype=0))  # L9_0
cx56_12.add(gdstk.Label('Displays_7-Segment.3dshapes/Cx56-12.wrl', (6451.6,7620), layer=12, texttype=0))
cx56_12.add(gdstk.Label('10', (5080,15240), layer=28, texttype=0))
cx56_12.add(gdstk.Label('7', (12700,15240), layer=28, texttype=0))
cx56_12.add(gdstk.Label('11', (2540,15240), layer=28, texttype=0))
cx56_12.add(gdstk.Label('12', (0,15240), layer=28, texttype=0))
cx56_12.add(gdstk.Label('8', (10160,15240), layer=28, texttype=0))
cx56_12.add(gdstk.Label('9', (7620,15240), layer=28, texttype=0))
cx56_12.add(gdstk.Label('6', (12700,0), layer=28, texttype=0))
cx56_12.add(gdstk.Label('5', (10160,0), layer=28, texttype=0))
cx56_12.add(gdstk.Label('4', (7620,0), layer=28, texttype=0))
cx56_12.add(gdstk.Label('3', (5080,0), layer=28, texttype=0))
cx56_12.add(gdstk.Label('2', (2540,0), layer=28, texttype=0))
cx56_12.add(gdstk.Label('1', (0,0), layer=28, texttype=0))
cx56_12.add(gdstk.Label('type', (6350,-3380), layer=9, texttype=0))
cx56_12.add(gdstk.Label('devicename', (6350,18620), layer=9, texttype=0))

lib.write_gds('Cx56-12.gds')
